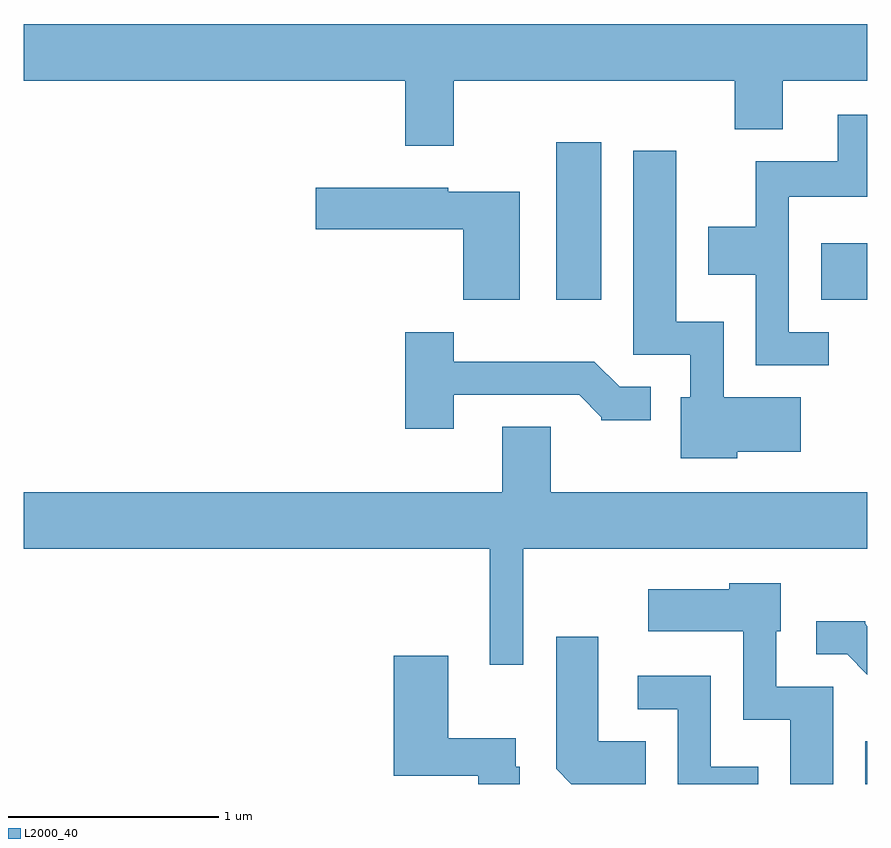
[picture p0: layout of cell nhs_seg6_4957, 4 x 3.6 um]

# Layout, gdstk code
import gdstk
lib = gdstk.Library(unit=1e-6, precision=1e-09)
def R(c, l, rs):  # rectangles x0, y0, x1, y1
    for r in rs: c.add(gdstk.rectangle(r[:2], r[2:], *l))
def P(c, l, *ps):  # polygons
    for p in ps: c.add(gdstk.Polygon(p, *l))
L2000_40 = (2000, 40)

nhs_seg6_4957 = lib.new_cell('nhs_seg6_4957')
R(nhs_seg6_4957, L2000_40, [(339.601,1642.162,339.611,1642.364), (338.136,1644.456,338.349,1645.204), (339.391,1644.456,339.611,1644.724)])
P(nhs_seg6_4957, L2000_40, [(337.649,1645.496),(338.981,1645.496),(338.981,1645.266),(339.209,1645.266),(339.209,1645.496),(339.611,1645.496),(339.611,1645.764),(335.611,1645.764),(335.611,1645.496),(337.421,1645.496),(337.421,1645.186),(337.649,1645.186)],
  [(339.428,1644.304),(339.239,1644.304),(339.239,1644.946),(339.611,1644.946),(339.611,1645.334),(339.471,1645.334),(339.471,1645.114),(339.081,1645.114),(339.081,1644.804),(338.856,1644.804),(338.856,1644.576),(339.081,1644.576),(339.081,1644.146),(339.428,1644.146)],
  [(338.994,1643.736),(339.294,1643.736),(339.294,1643.994),(338.929,1643.994),(338.929,1644.354),(338.704,1644.354),(338.704,1645.164),(338.501,1645.164),(338.501,1644.196),(338.771,1644.196),(338.771,1643.994),(338.726,1643.994),(338.726,1643.706),(338.994,1643.706)],
  [(337.964,1644.969),(337.624,1644.969),(337.624,1644.989),(336.996,1644.989),(336.996,1644.791),(337.696,1644.791),(337.696,1644.456),(337.964,1644.456)],
  [(337.649,1644.006),(338.244,1644.006),(338.35,1643.9),(338.35,1643.886),(338.583,1643.886),(338.583,1644.044),(338.437,1644.044),(338.317,1644.164),(337.649,1644.164),(337.649,1644.304),(337.421,1644.304),(337.421,1643.846),(337.649,1643.846)],
  [(337.979,1643.276),(339.611,1643.276),(339.611,1643.544),(338.109,1643.544),(338.109,1643.854),(337.881,1643.854),(337.881,1643.544),(335.611,1643.544),(335.611,1643.276),(337.821,1643.276),(337.821,1642.728),(337.979,1642.728)],
  [(339.449,1642.624),(339.179,1642.624),(339.179,1642.886),(339.199,1642.886),(339.199,1643.114),(338.956,1643.114),(338.956,1643.084),(338.571,1643.084),(338.571,1642.886),(339.021,1642.886),(339.021,1642.466),(339.246,1642.466),(339.246,1642.162),(339.449,1642.162)],
  [(339.611,1642.91),(339.6,1642.921),(339.6,1642.934),(339.368,1642.934),(339.368,1642.776),(339.514,1642.776),(339.611,1642.679)],
  [(338.559,1642.364),(338.334,1642.364),(338.334,1642.859),(338.136,1642.859),(338.136,1642.234),(338.208,1642.162),(338.559,1642.162)],
  [(337.964,1642.244),(337.944,1642.244),(337.944,1642.379),(337.624,1642.379),(337.624,1642.769),(337.366,1642.769),(337.366,1642.201),(337.766,1642.201),(337.766,1642.162),(337.964,1642.162)],
  [(339.094,1642.244),(338.869,1642.244),(338.869,1642.674),(338.523,1642.674),(338.523,1642.516),(338.711,1642.516),(338.711,1642.162),(339.094,1642.162)])

lib.write_gds('nhs_seg6_4957.gds')
